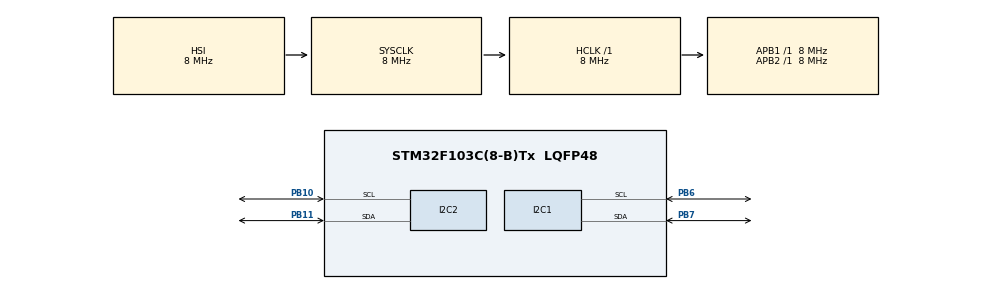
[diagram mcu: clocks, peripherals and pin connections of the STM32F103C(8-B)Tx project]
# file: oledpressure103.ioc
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I2C1.I2C_Mode=I2C_Fast
I2C2.I2C_Mode=I2C_Fast
Mcu.Family=STM32F1
Mcu.Name=STM32F103C(8-B)Tx
Mcu.Package=LQFP48
NVIC.PriorityGroup=NVIC_PRIORITYGROUP_4
NVIC.TIM3_IRQn=true\:0\:0\:false\:false\:true\:true\:true\:true
PB10.GPIO_Pu=GPIO_PULLUP
PB10.Mode=I2C
PB10.Signal=I2C2_SCL
PB11.GPIO_Pu=GPIO_PULLUP
PB11.Mode=I2C
PB11.Signal=I2C2_SDA
PB6.GPIO_Pu=GPIO_PULLUP
PB6.Mode=I2C
PB6.Signal=I2C1_SCL
PB7.GPIO_Pu=GPIO_PULLUP
PB7.Mode=I2C
PB7.Signal=I2C1_SDA
ProjectManager.HeapSize=0x200
ProjectManager.StackSize=0x400
ProjectManager.TargetToolchain=STM32CubeIDE
RCC.AHBFreq_Value=8000000
RCC.APB1Freq_Value=8000000
RCC.APB1TimFreq_Value=8000000
RCC.APB2Freq_Value=8000000
RCC.APB2TimFreq_Value=8000000
RCC.HCLKFreq_Value=8000000
RCC.PLLMUL=RCC_PLL_MUL5
RCC.SYSCLKFreq_VALUE=8000000
RCC.USBFreq_Value=20000000
TIM3.AutoReloadPreload=TIM_AUTORELOAD_PRELOAD_DISABLE
TIM3.Period=1000
TIM3.Prescaler=7999
VP_SYS_VS_ND.Mode=No_Debug
VP_TIM3_VS_ClockSourceINT.Mode=Internal
board=custom

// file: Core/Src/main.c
/* USER CODE BEGIN Header */
/**
 ******************************************************************************
 * @file           : main.c
 * @brief          : Main program body
 ******************************************************************************
 * @attention
 *
 * <h2><center>&copy; Copyright (c) 2020 STMicroelectronics.
 * All rights reserved.</center></h2>
 *
 * This software component is licensed by ST under BSD 3-Clause license,
 * the "License"; You may not use this file except in compliance with the
 * License. You may obtain a copy of the License at:
 *                        opensource.org/licenses/BSD-3-Clause
 *
 ******************************************************************************
 */
/* USER CODE END Header */
#include "main.h"

/* USER CODE BEGIN Includes */
#include "OLED.h"
#include "BMP280/bmp280.h"
//#include "BMPXX80.h"
#include "history.h"
#include "plotter.h"

/* USER CODE END Includes */

I2C_HandleTypeDef hi2c1;
I2C_HandleTypeDef hi2c2;

TIM_HandleTypeDef htim3;

/* USER CODE BEGIN PV */
int32_t pressure = 0;
BMP280_HandleTypedef bmp280;

// read new measure every 1 sec
volatile uint16_t new_measure_do = 0;
// seconds counter
uint16_t seconds = 0;
uint8_t display_mode = 0;

/*
 1sec - read current
 30sec - change display mode
 900sec - add current to history

 mode 0/1 - big numbers 745.3 mmHg / hPa
 mode 2 - show trends in 4 intervals with 3 hours (12 measures step 15 min)
 mode 3 - plot chart with all 48 measures

 */

/* USER CODE END PV */

void SystemClock_Config(void);
static void MX_GPIO_Init(void);
static void MX_I2C1_Init(void);
static void MX_I2C2_Init(void);
static void MX_TIM3_Init(void);

/* USER CODE BEGIN 0 */
void init_my_devices()
{
	HAL_Delay(500);
	OLED_Init(&hi2c1);
	OLED_FontSet(Font_MSX_6x8_eng);
	OLED_SetContrast(2);

	OLED_Clear(0);

	OLED_DrawStr("OLED Ok", 0, 0, 1);
	OLED_UpdateScreen();
	HAL_Delay(200);

	bmp280_init_default_params(&bmp280.params);
	bmp280.addr = BMP280_I2C_ADDRESS_0;
	bmp280.i2c = &hi2c2;

	if (!bmp280_init(&bmp280, &bmp280.params))
	{
		OLED_DrawStr("NO BMP", 64, 0, 1);
		OLED_UpdateScreen();
		HAL_Delay(1000);
	}
	else
	{
		if (bmp280.id == BME280_CHIP_ID)
		{
			OLED_DrawStr("BME 280", 64, 0, 1);
			OLED_UpdateScreen();
		}
		else
		{
			OLED_DrawStr("BMP 280", 64, 0, 1);
			OLED_UpdateScreen();
		}
	}

	char str[20];
	sprintf(str, "S=%ld", HAL_RCC_GetSysClockFreq());
	OLED_DrawStr(str, 0, 16, 1);
	sprintf(str, "H=%ld", HAL_RCC_GetHCLKFreq());
	OLED_DrawStr(str, 64, 16, 1);
	sprintf(str, "1=%ld", HAL_RCC_GetPCLK1Freq());
	OLED_DrawStr(str, 0, 24, 1);
	sprintf(str, "2=%ld", HAL_RCC_GetPCLK2Freq());
	OLED_DrawStr(str, 64, 24, 1);
	OLED_UpdateScreen();

	HAL_Delay(3000);

	init_history();
}

void read_measure()
{
	int32_t t;
	uint32_t p, h;
	bmp280_read_fixed(&bmp280, &t, &p, &h);
	pressure = (int32_t) (p >> 8);

	if (pressure < MIN_PRESSURE) // 700mmHg
	{
		pressure = MIN_PRESSURE;
	}
	if (pressure > MAX_PRESSURE) // 800mmHg
	{
		pressure = MAX_PRESSURE;
	}
}

void HAL_TIM_PeriodElapsedCallback(TIM_HandleTypeDef *htim)
{
	if (htim->Instance == TIM3) //check if the interrupt comes from TIM1
	{
		new_measure_do = 1;
	}
}

void process_first_time_measure()
{
	for (uint16_t i = 0; i < 3; i++)
	{
		HAL_Delay(200);
		read_measure();
	}
	append_measure_to_history(pressure);
	set_now_pressure(pressure);
	display_mode = 0;
	display(display_mode);

}

void process_timer_event()
{
//	HAL_GPIO_WritePin(GPIOC, GPIO_PIN_13, GPIO_PIN_RESET);
	seconds = (seconds + 1) % SECONDS_PER_HOUR;
	if ((seconds % SECONDS_READ_PRESSURE) == 0)
	{
		read_measure();
		set_now_pressure(pressure);
	}
	if ((seconds % SECONDS_CHANGE_DISPLAY) == 0)
	{
		display_mode = (display_mode + 1) % DISPLAY_MODES_COUNT;
		display(display_mode);
	}
	if ((seconds % SECONDS_UPDATE_HISTORY) == 0)
	{
		append_measure_to_history(pressure);
	}

//	HAL_GPIO_WritePin(GPIOC, GPIO_PIN_13, GPIO_PIN_SET);
}

/* USER CODE END 0 */

int main(void)
{

  /* MCU Configuration--------------------------------------------------------*/

  /* Reset of all peripherals, Initializes the Flash interface and the Systick. */
  HAL_Init();

  /* Configure the system clock */
  SystemClock_Config();

  /* Initialize all configured peripherals */
  MX_GPIO_Init();
  MX_I2C1_Init();
  MX_I2C2_Init();
  MX_TIM3_Init();
  /* USER CODE BEGIN 2 */

	HAL_TIM_Base_Start_IT(&htim3);

//	HAL_GPIO_WritePin(GPIOC, GPIO_PIN_13, GPIO_PIN_SET);

	init_my_devices();

	process_first_time_measure();

  /* USER CODE END 2 */

  /* Infinite loop */
  /* USER CODE BEGIN WHILE */
	while (1)
	{
		HAL_Delay(100);
		if (new_measure_do == 1)
		{
			new_measure_do = 0;
			process_timer_event();
		}
    /* USER CODE END WHILE */

	}
}

void SystemClock_Config(void)
{
  RCC_OscInitTypeDef RCC_OscInitStruct = {0};
  RCC_ClkInitTypeDef RCC_ClkInitStruct = {0};

  /** Initializes the RCC Oscillators according to the specified parameters
  * in the RCC_OscInitTypeDef structure.
  */
  RCC_OscInitStruct.OscillatorType = RCC_OSCILLATORTYPE_HSI;
  RCC_OscInitStruct.HSIState = RCC_HSI_ON;
  RCC_OscInitStruct.HSICalibrationValue = RCC_HSICALIBRATION_DEFAULT;
  RCC_OscInitStruct.PLL.PLLState = RCC_PLL_NONE;
  if (HAL_RCC_OscConfig(&RCC_OscInitStruct) != HAL_OK)
  {
    Error_Handler();
  }

  /** Initializes the CPU, AHB and APB buses clocks
  */
  RCC_ClkInitStruct.ClockType = RCC_CLOCKTYPE_HCLK|RCC_CLOCKTYPE_SYSCLK
                              |RCC_CLOCKTYPE_PCLK1|RCC_CLOCKTYPE_PCLK2;
  RCC_ClkInitStruct.SYSCLKSource = RCC_SYSCLKSOURCE_HSI;
  RCC_ClkInitStruct.AHBCLKDivider = RCC_SYSCLK_DIV1;
  RCC_ClkInitStruct.APB1CLKDivider = RCC_HCLK_DIV1;
  RCC_ClkInitStruct.APB2CLKDivider = RCC_HCLK_DIV1;

  if (HAL_RCC_ClockConfig(&RCC_ClkInitStruct, FLASH_LATENCY_0) != HAL_OK)
  {
    Error_Handler();
  }
}

static void MX_I2C1_Init(void)
{

  hi2c1.Instance = I2C1;
  hi2c1.Init.ClockSpeed = 400000;
  hi2c1.Init.DutyCycle = I2C_DUTYCYCLE_2;
  hi2c1.Init.OwnAddress1 = 0;
  hi2c1.Init.AddressingMode = I2C_ADDRESSINGMODE_7BIT;
  hi2c1.Init.DualAddressMode = I2C_DUALADDRESS_DISABLE;
  hi2c1.Init.OwnAddress2 = 0;
  hi2c1.Init.GeneralCallMode = I2C_GENERALCALL_DISABLE;
  hi2c1.Init.NoStretchMode = I2C_NOSTRETCH_DISABLE;
  if (HAL_I2C_Init(&hi2c1) != HAL_OK)
  {
    Error_Handler();
  }

}

static void MX_I2C2_Init(void)
{

  hi2c2.Instance = I2C2;
  hi2c2.Init.ClockSpeed = 400000;
  hi2c2.Init.DutyCycle = I2C_DUTYCYCLE_2;
  hi2c2.Init.OwnAddress1 = 0;
  hi2c2.Init.AddressingMode = I2C_ADDRESSINGMODE_7BIT;
  hi2c2.Init.DualAddressMode = I2C_DUALADDRESS_DISABLE;
  hi2c2.Init.OwnAddress2 = 0;
  hi2c2.Init.GeneralCallMode = I2C_GENERALCALL_DISABLE;
  hi2c2.Init.NoStretchMode = I2C_NOSTRETCH_DISABLE;
  if (HAL_I2C_Init(&hi2c2) != HAL_OK)
  {
    Error_Handler();
  }

}

static void MX_TIM3_Init(void)
{

  TIM_ClockConfigTypeDef sClockSourceConfig = {0};
  TIM_MasterConfigTypeDef sMasterConfig = {0};

  htim3.Instance = TIM3;
  htim3.Init.Prescaler = 7999;
  htim3.Init.CounterMode = TIM_COUNTERMODE_UP;
  htim3.Init.Period = 1000;
  htim3.Init.ClockDivision = TIM_CLOCKDIVISION_DIV1;
  htim3.Init.AutoReloadPreload = TIM_AUTORELOAD_PRELOAD_DISABLE;
  if (HAL_TIM_Base_Init(&htim3) != HAL_OK)
  {
    Error_Handler();
  }
  sClockSourceConfig.ClockSource = TIM_CLOCKSOURCE_INTERNAL;
  if (HAL_TIM_ConfigClockSource(&htim3, &sClockSourceConfig) != HAL_OK)
  {
    Error_Handler();
  }
  sMasterConfig.MasterOutputTrigger = TIM_TRGO_RESET;
  sMasterConfig.MasterSlaveMode = TIM_MASTERSLAVEMODE_DISABLE;
  if (HAL_TIMEx_MasterConfigSynchronization(&htim3, &sMasterConfig) != HAL_OK)
  {
    Error_Handler();
  }

}

static void MX_GPIO_Init(void)
{
  GPIO_InitTypeDef GPIO_InitStruct = {0};

  /* GPIO Ports Clock Enable */
  __HAL_RCC_GPIOC_CLK_ENABLE();
  __HAL_RCC_GPIOD_CLK_ENABLE();
  __HAL_RCC_GPIOA_CLK_ENABLE();
  __HAL_RCC_GPIOB_CLK_ENABLE();

  /*Configure GPIO pins : PC13 PC14 PC15 */
  GPIO_InitStruct.Pin = GPIO_PIN_13|GPIO_PIN_14|GPIO_PIN_15;
  GPIO_InitStruct.Mode = GPIO_MODE_ANALOG;
  HAL_GPIO_Init(GPIOC, &GPIO_InitStruct);

  /*Configure GPIO pins : PD0 PD1 */
  GPIO_InitStruct.Pin = GPIO_PIN_0|GPIO_PIN_1;
  GPIO_InitStruct.Mode = GPIO_MODE_ANALOG;
  HAL_GPIO_Init(GPIOD, &GPIO_InitStruct);

  /*Configure GPIO pins : PA0 PA1 PA2 PA3
                           PA4 PA5 PA6 PA7
                           PA8 PA9 PA10 PA11
                           PA12 PA13 PA14 PA15 */
  GPIO_InitStruct.Pin = GPIO_PIN_0|GPIO_PIN_1|GPIO_PIN_2|GPIO_PIN_3
                          |GPIO_PIN_4|GPIO_PIN_5|GPIO_PIN_6|GPIO_PIN_7
                          |GPIO_PIN_8|GPIO_PIN_9|GPIO_PIN_10|GPIO_PIN_11
                          |GPIO_PIN_12|GPIO_PIN_13|GPIO_PIN_14|GPIO_PIN_15;
  GPIO_InitStruct.Mode = GPIO_MODE_ANALOG;
  HAL_GPIO_Init(GPIOA, &GPIO_InitStruct);

  /*Configure GPIO pins : PB0 PB1 PB2 PB12
                           PB13 PB14 PB15 PB3
                           PB4 PB5 PB8 PB9 */
  GPIO_InitStruct.Pin = GPIO_PIN_0|GPIO_PIN_1|GPIO_PIN_2|GPIO_PIN_12
                          |GPIO_PIN_13|GPIO_PIN_14|GPIO_PIN_15|GPIO_PIN_3
                          |GPIO_PIN_4|GPIO_PIN_5|GPIO_PIN_8|GPIO_PIN_9;
  GPIO_InitStruct.Mode = GPIO_MODE_ANALOG;
  HAL_GPIO_Init(GPIOB, &GPIO_InitStruct);

  /*Configure peripheral I/O remapping */
  __HAL_AFIO_REMAP_PD01_ENABLE();

}

void Error_Handler(void)
{
}
